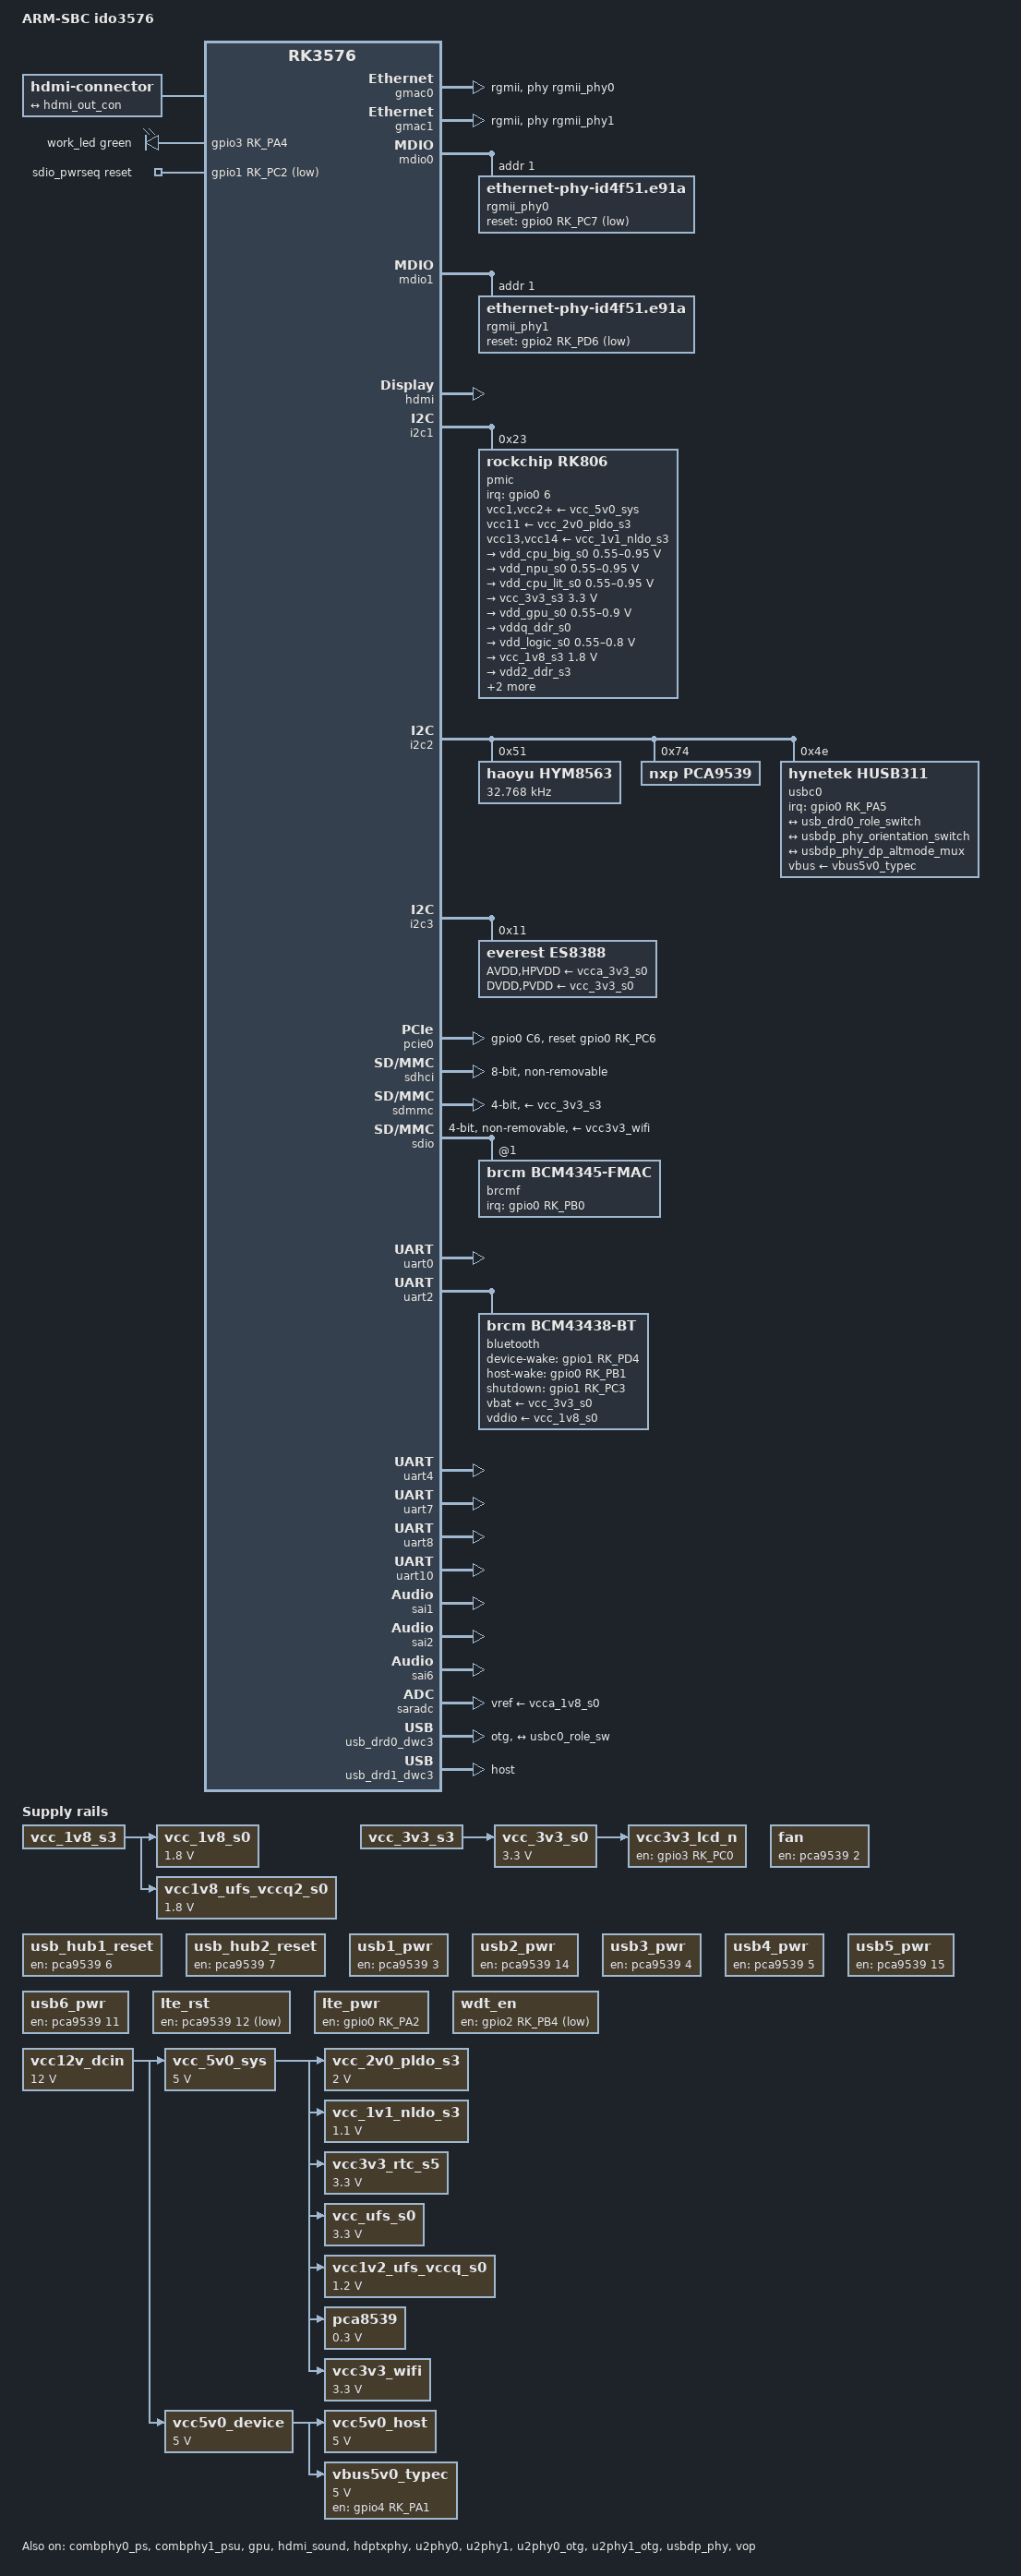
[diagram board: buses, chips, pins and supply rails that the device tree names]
// SPDX-License-Identifier: (GPL-2.0+ OR MIT)
/*
 * Copyright (c) 2025 ARM-SBC
 *
 */

/dts-v1/;

#include <dt-bindings/gpio/gpio.h>
#include <dt-bindings/leds/common.h>
#include <dt-bindings/pinctrl/rockchip.h>
#include <dt-bindings/pwm/pwm.h>
#include <dt-bindings/soc/rockchip,vop2.h>
#include <dt-bindings/usb/pd.h>
#include "rk3576.dtsi"

/ {
	model = "ARM-SBC ido3576";
	compatible = "armsbc,ido3576", "rockchip,rk3576";

	aliases {
		ethernet0 = &gmac0;
		ethernet1 = &gmac1;
	};

	chosen {
		stdout-path = "serial0:1500000n8";
	};

	hdmi-con {
		compatible = "hdmi-connector";
		type = "a";

		port {
			hdmi_con_in: endpoint {
				remote-endpoint = <&hdmi_out_con>;
			};
		};
	};

	leds: leds {
		compatible = "gpio-leds";

		work_led: work-led {
			color = <LED_COLOR_ID_GREEN>;
			function = LED_FUNCTION_HEARTBEAT;
			gpios = <&gpio3 RK_PA4 GPIO_ACTIVE_HIGH>;
			linux,default-trigger = "heartbeat";
		};

	};
	
	es8388_sound: es8388-sound {
		compatible = "simple-audio-card";
		//hp-det-gpio = <&gpio0 RK_PC3 GPIO_ACTIVE_HIGH>;
		simple-audio-card,format = "i2s";
		simple-audio-card,mclk-fs = <256>;
		simple-audio-card,name = "On-board Analog ES8388";
		simple-audio-card,widgets = "Microphone", "Headphone Mic",
					    "Microphone", "Mic Pads",
					    "Headphone", "Headphone",
					    "Line Out", "Line Out";

		simple-audio-card,routing = "Headphone", "LOUT1",
					    "Headphone", "ROUT1",
					    "Line Out", "LOUT2",
					    "Line Out", "ROUT2",
					    "RINPUT1", "Headphone Mic",
					    "LINPUT2", "Mic Pads",
					    "RINPUT2", "Mic Pads";				
		simple-audio-card,cpu {
			sound-dai = <&sai1>;
		};

		simple-audio-card,codec {
			sound-dai = <&es8388>;
			system-clock-frequency = <12288000>;
		};
	};
	
	sdio_pwrseq: sdio-pwrseq {
		compatible = "mmc-pwrseq-simple";
		pinctrl-names = "default";
		clock-names = "ext_clock";
		clocks = <&hym8563>;
		pinctrl-0 = <&wifi_poweren_gpio>;
		post-power-on-delay-ms = <200>;
		reset-gpios = <&gpio1 RK_PC2 GPIO_ACTIVE_LOW>;
		status = "okay";
	};
	
	fan: fan {
		compatible = "regulator-fixed";
		regulator-name = "fan_regulator";
		regulator-boot-on;
		regulator-always-on;
		enable-active-high;
		gpios = <&pca9539 2 GPIO_ACTIVE_HIGH>;
      		};
		
	usb_hub1_reset: usb-hub1-reset {
		compatible = "regulator-fixed";
		regulator-name = "usb_hub1_regulator";
		regulator-boot-on;
		regulator-always-on;
		enable-active-high;
		gpios = <&pca9539 6 GPIO_ACTIVE_HIGH>;	
		};
		
	usb_hub2_reset:  usb-hub2-reset{
		compatible = "regulator-fixed";
		regulator-name = "usb_hub2_regulator";
		regulator-boot-on;
		regulator-always-on;
		enable-active-high;
		gpios = <&pca9539 7 GPIO_ACTIVE_HIGH>;
		};
		
	usb1_pwr: usb1-pwr {
		compatible = "regulator-fixed";
		regulator-name = "usb1_regulator";
		regulator-boot-on;
		regulator-always-on;
		enable-active-high;
		gpios = <&pca9539 3 GPIO_ACTIVE_HIGH>;
		};
		
	usb2_pwr: usb2-pwr {
		compatible = "regulator-fixed";
		regulator-name = "usb2_regulator";
		regulator-boot-on;
		regulator-always-on;
		enable-active-high;
		gpios = <&pca9539 14 GPIO_ACTIVE_HIGH>;
		};

	usb3_pwr: usb3-pwr {
		compatible = "regulator-fixed";
		regulator-name = "usb3_regulator";
		regulator-boot-on;
		regulator-always-on;
		enable-active-high;
		gpios = <&pca9539 4 GPIO_ACTIVE_HIGH>;
		};

	usb4_pwr: usb4-pwr {
		compatible = "regulator-fixed";
		regulator-name = "usb4_regulator";
		regulator-boot-on;
		regulator-always-on;
		enable-active-high;
		gpios = <&pca9539 5 GPIO_ACTIVE_HIGH>;
		};
		
	usb5_pwr: usb4-pwr {
		compatible = "regulator-fixed";
		regulator-name = "usb5_regulator";
		regulator-boot-on;
		regulator-always-on;
		enable-active-high;
		gpios = <&pca9539 15 GPIO_ACTIVE_HIGH>;
		};
		
	usb6_pwr: usb6-pwr {
		compatible = "regulator-fixed";
		regulator-name = "usb6_regulator";
		regulator-boot-on;
		regulator-always-on;
		enable-active-high;
		gpios = <&pca9539 11 GPIO_ACTIVE_HIGH>;
		};
		
	lte_rst: lte-rst {
		compatible = "regulator-fixed";
		regulator-name = "lte_reset_regulator";
		gpios = <&pca9539 12 GPIO_ACTIVE_HIGH>;	
		};

	lte_pwr: lte-pwr {
		compatible = "regulator-fixed";
		regulator-name = "lte_pwr_regulator";
		regulator-boot-on;
		regulator-always-on;
		enable-active-high;
		gpios = <&gpio0 RK_PA2 GPIO_ACTIVE_HIGH>;
		};

	wdt_en: wdt-en {
		compatible = "regulator-fixed";
		regulator-name = "wdt_regulator";
		regulator-boot-on;
		regulator-always-on;
		gpios = <&gpio2 RK_PB4 GPIO_ACTIVE_HIGH>;
		};
		
	vcc12v_dcin: vcc12v-dcin {
		compatible = "regulator-fixed";
		regulator-name = "vcc12v_dcin";
		regulator-always-on;
		regulator-boot-on;
		regulator-min-microvolt = <12000000>;
		regulator-max-microvolt = <12000000>;
	};

	vcc_5v0_sys: vcc-5v0-sys {
		compatible = "regulator-fixed";
		regulator-name = "vcc_5v0_sys";
		regulator-always-on;
		regulator-boot-on;
		regulator-min-microvolt = <5000000>;
		regulator-max-microvolt = <5000000>;
		vin-supply = <&vcc12v_dcin>;
	};

	vcc5v0_device: vcc5v0-device {
		compatible = "regulator-fixed";
		regulator-name = "vcc5v0_device";
		regulator-always-on;
		regulator-boot-on;
		regulator-min-microvolt = <5000000>;
		regulator-max-microvolt = <5000000>;
		vin-supply = <&vcc12v_dcin>;
	};

	vcc_2v0_pldo_s3: vcc-2v0-pldo-s3 {
		compatible = "regulator-fixed";
		regulator-name = "vcc_2v0_pldo_s3";
		regulator-boot-on;
		regulator-always-on;
		regulator-min-microvolt = <2000000>;
		regulator-max-microvolt = <2000000>;
		vin-supply = <&vcc_5v0_sys>;
	};

	vcc_1v1_nldo_s3: vcc-1v1-nldo-s3 {
		compatible = "regulator-fixed";
		regulator-name = "vcc_1v1_nldo_s3";
		regulator-boot-on;
		regulator-always-on;
		regulator-min-microvolt = <1100000>;
		regulator-max-microvolt = <1100000>;
		vin-supply = <&vcc_5v0_sys>;
	};

	vcc3v3_rtc_s5: vcc3v3-rtc-s5 {
		compatible = "regulator-fixed";
		regulator-name = "vcc3v3_rtc_s5";
		regulator-boot-on;
		regulator-always-on;
		regulator-min-microvolt = <3300000>;
		regulator-max-microvolt = <3300000>;
		vin-supply = <&vcc_5v0_sys>;
	};

	vcc_1v8_s0: vcc-1v8-s0 {
		compatible = "regulator-fixed";
		regulator-name = "vcc_1v8_s0";
		regulator-boot-on;
		regulator-always-on;
		regulator-min-microvolt = <1800000>;
		regulator-max-microvolt = <1800000>;
		vin-supply = <&vcc_1v8_s3>;
	};

	vcc_3v3_s0: vcc-3v3-s0 {
		compatible = "regulator-fixed";
		regulator-name = "vcc_3v3_s0";
		regulator-boot-on;
		regulator-always-on;
		regulator-min-microvolt = <3300000>;
		regulator-max-microvolt = <3300000>;
		vin-supply = <&vcc_3v3_s3>;
	};

	vcc_ufs_s0: vcc-ufs-s0 {
		compatible = "regulator-fixed";
		regulator-name = "vcc_ufs_s0";
		regulator-boot-on;
		regulator-always-on;
		regulator-min-microvolt = <3300000>;
		regulator-max-microvolt = <3300000>;
		vin-supply = <&vcc_5v0_sys>;
	};

	vcc1v8_ufs_vccq2_s0: vcc1v8-ufs-vccq2-s0 {
		compatible = "regulator-fixed";
		regulator-name = "vcc1v8_ufs_vccq2_s0";
		regulator-boot-on;
		regulator-always-on;
		regulator-min-microvolt = <1800000>;
		regulator-max-microvolt = <1800000>;
		vin-supply = <&vcc_1v8_s3>;
	};

	vcc1v2_ufs_vccq_s0: vcc1v2-ufs-vccq-s0 {
		compatible = "regulator-fixed";
		regulator-name = "vcc1v2_ufs_vccq_s0";
		regulator-boot-on;
		regulator-always-on;
		regulator-min-microvolt = <1200000>;
		regulator-max-microvolt = <1200000>;
		vin-supply = <&vcc_5v0_sys>;
	};

	vcc3v3_lcd_n: vcc3v3-lcd0-n {
		compatible = "regulator-fixed";
		regulator-name = "vcc3v3_lcd0_n";
		regulator-boot-on;
		enable-active-high;
		pinctrl-0 = <&backligth_on>;
		gpio = <&gpio3 RK_PC0 GPIO_ACTIVE_HIGH>;
		vin-supply = <&vcc_3v3_s0>;
	};

	vcc5v0_host: vcc5v0-host {
		compatible = "regulator-fixed";
		regulator-name = "vcc5v0_host";
		regulator-boot-on;
		regulator-always-on;
		regulator-min-microvolt = <5000000>;
		regulator-max-microvolt = <5000000>;
		enable-active-high;
		vin-supply = <&vcc5v0_device>;
	};

	vbus5v0_typec: vbus5v0-typec {
		compatible = "regulator-fixed";
		regulator-name = "vbus5v0_typec";
		regulator-min-microvolt = <5000000>;
		regulator-max-microvolt = <5000000>;
		enable-active-high;
		gpio = <&gpio4 RK_PA1 GPIO_ACTIVE_HIGH>;
		vin-supply = <&vcc5v0_device>;
		pinctrl-names = "default";
		pinctrl-0 = <&usb_otg0_pwren>;
	};
		
	pca8539: pca8539_reset {
		compatible = "regulator-fixed";
		regulator-name = "pca8539_reset";
		regulator-boot-on;
		regulator-always-on;
		regulator-min-microvolt = <300000>;
		regulator-max-microvolt = <300000>;
		vin-supply = <&vcc_5v0_sys>;
	};
	
	vcc3v3_wifi: vcc3v3-wifi {
		compatible = "regulator-fixed";
		enable-active-high;
		pinctrl-names = "default";
		regulator-name = "vcc3v3_wifi";
		regulator-always-on;
		regulator-boot-on;
		regulator-min-microvolt = <3300000>;
		regulator-max-microvolt = <3300000>;
		startup-delay-us = <50000>;
		vin-supply = <&vcc_5v0_sys>;
	};
};

&cpu_b0 {
	cpu-supply = <&vdd_cpu_big_s0>;
};

&cpu_b1 {
	cpu-supply = <&vdd_cpu_big_s0>;
};

&cpu_b2 {
	cpu-supply = <&vdd_cpu_big_s0>;
};

&cpu_b3 {
	cpu-supply = <&vdd_cpu_big_s0>;
};

&cpu_l0 {
	cpu-supply = <&vdd_cpu_lit_s0>;
};

&cpu_l1 {
	cpu-supply = <&vdd_cpu_lit_s0>;
};

&cpu_l2 {
	cpu-supply = <&vdd_cpu_lit_s0>;
};

&cpu_l3 {
	cpu-supply = <&vdd_cpu_lit_s0>;
};

&combphy0_ps {
	status = "okay";
};

&combphy1_psu {
	status = "okay";
};

&gmac0 {
	phy-mode = "rgmii";
	clock_in_out = "output";
	pinctrl-names = "default";
	pinctrl-0 = <&eth0m0_miim
		     &eth0m0_tx_bus2
		     &eth0m0_rx_bus2
		     &eth0m0_rgmii_clk
		     &eth0m0_rgmii_bus>;    
	phy-handle = <&rgmii_phy0>;
	status = "okay";
	tx_delay = <0x1a>;
	rx_delay = <0x26>;
};

&gmac1 {
	phy-mode = "rgmii";
	clock_in_out = "output";
	pinctrl-names = "default";
	pinctrl-0 = <&eth1m0_miim
		     &eth1m0_tx_bus2
		     &eth1m0_rx_bus2
		     &eth1m0_rgmii_clk
		     &eth1m0_rgmii_bus>;    		    
	phy-handle = <&rgmii_phy1>;
	status = "okay";
	tx_delay = <0x1a>;
	rx_delay = <0x26>;
};

&mdio0 {
	rgmii_phy0: phy@1 {
		compatible = "ethernet-phy-id4f51.e91a";
		reg = <0x1>;
		pinctrl-names = "default";
		pinctrl-0 = <&rtl8211a_rst>;
		reset-delay-us = <20000>;
		reset-post-delay-us = <100000>;
		motorcomm,auto-sleep-disabled;
        	motorcomm,keep-pll-enabled;
        	motorcomm,clk-out-frequency-hz = <25000000>;
		reset-gpios = <&gpio0 RK_PC7 GPIO_ACTIVE_LOW>;
		rx-internal-delay-ps = <2100>;
        	tx-internal-delay-ps = <1500>;
	};
};

&mdio1 {
	rgmii_phy1: ethernet-phy@1 {
		compatible = "ethernet-phy-id4f51.e91a";
		reg = <0x1>;
		pinctrl-names = "default";
		pinctrl-0 = <&rtl8211b_rst>;
		reset-delay-us = <20000>;
		reset-post-delay-us = <100000>;
		motorcomm,auto-sleep-disabled;
        	motorcomm,keep-pll-enabled;
        	motorcomm,clk-out-frequency-hz = <25000000>;
		reset-gpios = <&gpio2 RK_PD6 GPIO_ACTIVE_LOW>;
		rx-internal-delay-ps = <2100>;
        	tx-internal-delay-ps = <1500>;
	};
};

&gpu {
	mali-supply = <&vdd_gpu_s0>;
	status = "okay";
};

&hdmi {
	status = "okay";
};

&hdmi_in {
	hdmi_in_vp0: endpoint {
		remote-endpoint = <&vp0_out_hdmi>;
	};
};

&hdmi_out {
	hdmi_out_con: endpoint {
		remote-endpoint = <&hdmi_con_in>;
	};
};

&hdmi_sound {
	status = "okay";
};

&hdptxphy {
	status = "okay";
};

&i2c1 {
	status = "okay";

	pmic@23 {
		compatible = "rockchip,rk806";
		reg = <0x23>;

		interrupt-parent = <&gpio0>;
		interrupts = <6 IRQ_TYPE_LEVEL_LOW>;

		pinctrl-names = "default";
		pinctrl-0 = <&pmic_pins>, <&rk806_dvs1_null>,
			    <&rk806_dvs2_null>, <&rk806_dvs3_null>;

		system-power-controller;

		vcc1-supply = <&vcc_5v0_sys>;
		vcc2-supply = <&vcc_5v0_sys>;
		vcc3-supply = <&vcc_5v0_sys>;
		vcc4-supply = <&vcc_5v0_sys>;
		vcc5-supply = <&vcc_5v0_sys>;
		vcc6-supply = <&vcc_5v0_sys>;
		vcc7-supply = <&vcc_5v0_sys>;
		vcc8-supply = <&vcc_5v0_sys>;
		vcc9-supply = <&vcc_5v0_sys>;
		vcc10-supply = <&vcc_5v0_sys>;
		vcc11-supply = <&vcc_2v0_pldo_s3>;
		vcc12-supply = <&vcc_5v0_sys>;
		vcc13-supply = <&vcc_1v1_nldo_s3>;
		vcc14-supply = <&vcc_1v1_nldo_s3>;
		vcca-supply = <&vcc_5v0_sys>;

		gpio-controller;
		#gpio-cells = <2>;

		rk806_dvs1_null: dvs1-null-pins {
			pins = "gpio_pwrctrl1";
			function = "pin_fun0";
		};

		rk806_dvs2_null: dvs2-null-pins {
			pins = "gpio_pwrctrl2";
			function = "pin_fun0";
		};

		rk806_dvs3_null: dvs3-null-pins {
			pins = "gpio_pwrctrl3";
			function = "pin_fun0";
		};

		rk806_dvs1_slp: dvs1-slp-pins {
			pins = "gpio_pwrctrl1";
			function = "pin_fun1";
		};

		rk806_dvs1_pwrdn: dvs1-pwrdn-pins {
			pins = "gpio_pwrctrl1";
			function = "pin_fun2";
		};

		rk806_dvs1_rst: dvs1-rst-pins {
			pins = "gpio_pwrctrl1";
			function = "pin_fun3";
		};

		rk806_dvs2_slp: dvs2-slp-pins {
			pins = "gpio_pwrctrl2";
			function = "pin_fun1";
		};

		rk806_dvs2_pwrdn: dvs2-pwrdn-pins {
			pins = "gpio_pwrctrl2";
			function = "pin_fun2";
		};

		rk806_dvs2_rst: dvs2-rst-pins {
			pins = "gpio_pwrctrl2";
			function = "pin_fun3";
		};

		rk806_dvs2_dvs: dvs2-dvs-pins {
			pins = "gpio_pwrctrl2";
			function = "pin_fun4";
		};

		rk806_dvs2_gpio: dvs2-gpio-pins {
			pins = "gpio_pwrctrl2";
			function = "pin_fun5";
		};

		rk806_dvs3_slp: dvs3-slp-pins {
			pins = "gpio_pwrctrl3";
			function = "pin_fun1";
		};

		rk806_dvs3_pwrdn: dvs3-pwrdn-pins {
			pins = "gpio_pwrctrl3";
			function = "pin_fun2";
		};

		rk806_dvs3_rst: dvs3-rst-pins {
			pins = "gpio_pwrctrl3";
			function = "pin_fun3";
		};

		rk806_dvs3_dvs: dvs3-dvs-pins {
			pins = "gpio_pwrctrl3";
			function = "pin_fun4";
		};

		rk806_dvs3_gpio: dvs3-gpio-pins {
			pins = "gpio_pwrctrl3";
			function = "pin_fun5";
		};

		regulators {
			vdd_cpu_big_s0: dcdc-reg1 {
				regulator-always-on;
				regulator-boot-on;
				regulator-min-microvolt = <550000>;
				regulator-max-microvolt = <950000>;
				regulator-ramp-delay = <12500>;
				regulator-name = "vdd_cpu_big_s0";
				regulator-enable-ramp-delay = <400>;
				regulator-state-mem {
					regulator-off-in-suspend;
				};
			};

			vdd_npu_s0: dcdc-reg2 {
				regulator-boot-on;
				regulator-min-microvolt = <550000>;
				regulator-max-microvolt = <950000>;
				regulator-ramp-delay = <12500>;
				regulator-name = "vdd_npu_s0";
				regulator-enable-ramp-delay = <400>;
				regulator-state-mem {
					regulator-off-in-suspend;
				};
			};

			vdd_cpu_lit_s0: dcdc-reg3 {
				regulator-always-on;
				regulator-boot-on;
				regulator-min-microvolt = <550000>;
				regulator-max-microvolt = <950000>;
				regulator-ramp-delay = <12500>;
				regulator-name = "vdd_cpu_lit_s0";
				regulator-state-mem {
					regulator-off-in-suspend;
					regulator-suspend-microvolt = <750000>;
				};
			};

			vcc_3v3_s3: dcdc-reg4 {
				regulator-always-on;
				regulator-boot-on;
				regulator-min-microvolt = <3300000>;
				regulator-max-microvolt = <3300000>;
				regulator-name = "vcc_3v3_s3";
				regulator-state-mem {
					regulator-on-in-suspend;
					regulator-suspend-microvolt = <3300000>;
				};
			};

			vdd_gpu_s0: dcdc-reg5 {
				regulator-boot-on;
				regulator-min-microvolt = <550000>;
				regulator-max-microvolt = <900000>;
				regulator-ramp-delay = <12500>;
				regulator-name = "vdd_gpu_s0";
				regulator-enable-ramp-delay = <400>;
				regulator-state-mem {
					regulator-off-in-suspend;
					regulator-suspend-microvolt = <850000>;
				};
			};

			vddq_ddr_s0: dcdc-reg6 {
				regulator-always-on;
				regulator-boot-on;
				regulator-name = "vddq_ddr_s0";
				regulator-state-mem {
					regulator-off-in-suspend;
				};
			};

			vdd_logic_s0: dcdc-reg7 {
				regulator-always-on;
				regulator-boot-on;
				regulator-min-microvolt = <550000>;
				regulator-max-microvolt = <800000>;
				regulator-name = "vdd_logic_s0";
				regulator-state-mem {
					regulator-off-in-suspend;
				};
			};

			vcc_1v8_s3: dcdc-reg8 {
				regulator-always-on;
				regulator-boot-on;
				regulator-min-microvolt = <1800000>;
				regulator-max-microvolt = <1800000>;
				regulator-name = "vcc_1v8_s3";
				regulator-state-mem {
					regulator-on-in-suspend;
					regulator-suspend-microvolt = <1800000>;
				};
			};

			vdd2_ddr_s3: dcdc-reg9 {
				regulator-always-on;
				regulator-boot-on;
				regulator-name = "vdd2_ddr_s3";
				regulator-state-mem {
					regulator-on-in-suspend;
				};
			};

			vdd_ddr_s0: dcdc-reg10 {
				regulator-always-on;
				regulator-boot-on;
				regulator-min-microvolt = <550000>;
				regulator-max-microvolt = <1200000>;
				regulator-name = "vdd_ddr_s0";
				regulator-state-mem {
					regulator-off-in-suspend;
				};
			};

			vcca_1v8_s0: pldo-reg1 {
				regulator-always-on;
				regulator-boot-on;
				regulator-min-microvolt = <1800000>;
				regulator-max-microvolt = <1800000>;
				regulator-name = "vcca_1v8_s0";
				regulator-state-mem {
					regulator-off-in-suspend;
				};
			};

			vcca1v8_pldo2_s0: pldo-reg2 {
				regulator-always-on;
				regulator-boot-on;
				regulator-min-microvolt = <1800000>;
				regulator-max-microvolt = <1800000>;
				regulator-name = "vcca1v8_pldo2_s0";
				regulator-state-mem {
					regulator-off-in-suspend;
				};
			};

			vdda_1v2_s0: pldo-reg3 {
				regulator-always-on;
				regulator-boot-on;
				regulator-min-microvolt = <1200000>;
				regulator-max-microvolt = <1200000>;
				regulator-name = "vdda_1v2_s0";
				regulator-state-mem {
					regulator-off-in-suspend;
				};
			};

			vcca_3v3_s0: pldo-reg4 {
				regulator-always-on;
				regulator-boot-on;
				regulator-min-microvolt = <3300000>;
				regulator-max-microvolt = <3300000>;
				regulator-name = "vcca_3v3_s0";
				regulator-state-mem {
					regulator-off-in-suspend;
				};
			};

			vccio_sd_s0: pldo-reg5 {
				regulator-always-on;
				regulator-boot-on;
				regulator-min-microvolt = <1800000>;
				regulator-max-microvolt = <3300000>;
				regulator-name = "vccio_sd_s0";
				regulator-state-mem {
					regulator-off-in-suspend;
				};
			};

			vcca1v8_pldo6_s3: pldo-reg6 {
				regulator-always-on;
				regulator-boot-on;
				regulator-min-microvolt = <1800000>;
				regulator-max-microvolt = <1800000>;
				regulator-name = "vcca1v8_pldo6_s3";
				regulator-state-mem {
					regulator-on-in-suspend;
					regulator-suspend-microvolt = <1800000>;
				};
			};

			vdd_0v75_s3: nldo-reg1 {
				regulator-always-on;
				regulator-boot-on;
				regulator-min-microvolt = <750000>;
				regulator-max-microvolt = <750000>;
				regulator-name = "vdd_0v75_s3";
				regulator-state-mem {
					regulator-on-in-suspend;
					regulator-suspend-microvolt = <750000>;
				};
			};

			vdda_ddr_pll_s0: nldo-reg2 {
				regulator-always-on;
				regulator-boot-on;
				regulator-min-microvolt = <850000>;
				regulator-max-microvolt = <850000>;
				regulator-name = "vdda_ddr_pll_s0";
				regulator-state-mem {
					regulator-off-in-suspend;
				};
			};

			vdda0v75_hdmi_s0: nldo-reg3 {
				regulator-always-on;
				regulator-boot-on;
				regulator-min-microvolt = <837500>;
				regulator-max-microvolt = <837500>;
				regulator-name = "vdda0v75_hdmi_s0";
				regulator-state-mem {
					regulator-off-in-suspend;
				};
			};

			vdda_0v85_s0: nldo-reg4 {
				regulator-always-on;
				regulator-boot-on;
				regulator-min-microvolt = <850000>;
				regulator-max-microvolt = <850000>;
				regulator-name = "vdda_0v85_s0";
				regulator-state-mem {
					regulator-off-in-suspend;
				};
			};

			vdda_0v75_s0: nldo-reg5 {
				regulator-always-on;
				regulator-boot-on;
				regulator-min-microvolt = <750000>;
				regulator-max-microvolt = <750000>;
				regulator-name = "vdda_0v75_s0";
				regulator-state-mem {
					regulator-off-in-suspend;
				};
			};
		};
	};
};

&i2c2 {
	status = "okay";
	pinctrl-0 = <&i2c2m0_xfer>;
		
	hym8563: hym8563@51 {
		compatible = "haoyu,hym8563";
		reg = <0x51>;
		#clock-cells = <0>;
		clock-frequency = <32768>;
		clock-output-names = "hym8563";
		pinctrl-names = "default";
	};
	
	pca9539: pca9539@74 {
		compatible = "nxp,pca9539";
		reg = <0x74>;
		gpio-controller;
		#gpio-cells = <2>;
		interrupt-controller;
		#interrupt-cells = <2>;
		status = "okay";
	};

	usbc0: husb311@4e {
		compatible = "hynetek,husb311";
		reg = <0x4e>;
		interrupt-parent = <&gpio0>;
		interrupts = <RK_PA5 IRQ_TYPE_LEVEL_LOW>;
		pinctrl-names = "default";
		pinctrl-0 = <&usbc0_int>;
		vbus-supply = <&vbus5v0_typec>;
		status = "okay";

		port {
			usbc0_role_sw: endpoint {
				remote-endpoint = <&usb_drd0_role_switch>;
			};
		};

		usb_con: connector {
			compatible = "usb-c-connector";
			label = "USB-C";
			data-role = "dual";
			power-role = "dual";
			try-power-role = "sink";
			op-sink-microwatt = <1000000>;
			sink-pdos =
				<PDO_FIXED(5000, 1000, PDO_FIXED_USB_COMM)>;
			source-pdos =
				<PDO_FIXED(5000, 3000, PDO_FIXED_USB_COMM)>;

			altmodes {
				#address-cells = <1>;
				#size-cells = <0>;

				altmode@0 {
					reg = <0>;
					svid = <0xff01>;
					vdo = <0xffffffff>;
				};
			};

			ports {
				#address-cells = <1>;
				#size-cells = <0>;

				port@0 {
					reg = <0>;
					usbc0_orien_sw: endpoint {
						remote-endpoint = <&usbdp_phy_orientation_switch>;
					};
				};

				port@1 {
					reg = <1>;
					dp_altmode_mux: endpoint {
						remote-endpoint = <&usbdp_phy_dp_altmode_mux>;
					};
				};
			};
		};
	};
};

&i2c3 {
	status = "okay";
	es8388: es8388@11 {
		compatible = "everest,es8388", "everest,es8323";
		reg = <0x11>;
		clocks = <&cru CLK_SAI1_MCLKOUT_TO_IO>;
		AVDD-supply = <&vcca_3v3_s0>;
		DVDD-supply = <&vcc_3v3_s0>;
		HPVDD-supply = <&vcca_3v3_s0>;
		PVDD-supply = <&vcc_3v3_s0>;
		assigned-clocks = <&cru CLK_SAI1_MCLKOUT_TO_IO>;
		assigned-clock-rates = <12288000>;
		pinctrl-names = "default";
		pinctrl-0 = <&sai1m0_mclk>;
		#sound-dai-cells = <0>;
	};
};

&pcie0 {
	reset-gpios = <&gpio0 RK_PC6 GPIO_ACTIVE_HIGH>;
	rockchip,skip-scan-in-resume;
	pinctrl-0 = <&pcie_reset>;
	pinctrl-names = "default";
	status = "okay";
};

&pinctrl {
	sound {
		hp_det: hp-det {
			rockchip,pins = <0 RK_PC3 RK_FUNC_GPIO &pcfg_pull_up>;
		};
	};
	
	pcie {
		pcie_reset: pcie-reset {
			rockchip,pins = <0 RK_PC6 RK_FUNC_GPIO &pcfg_pull_up>;
		};
	};
	
	ethernet {
		rtl8211a_rst: rtl8211a-rst {
			rockchip,pins = <2 RK_PB3 RK_FUNC_GPIO &pcfg_pull_none>;
		};
		
		rtl8211b_rst: rtl8211b-rst {
			rockchip,pins = <2 RK_PD6 RK_FUNC_GPIO &pcfg_pull_none>;
		};
	};

	usb {
		usb_otg0_pwren: usb-otg0-pwren {
			rockchip,pins = <4 RK_PA1 RK_FUNC_GPIO &pcfg_pull_none>;
		};

		usbc0_int: usbc0-int {
			rockchip,pins = <0 RK_PA5 RK_FUNC_GPIO &pcfg_pull_up>;
		};
	};
	
	screen {
		backligth_on: bakclight-on{
			rockchip,pins = <3 RK_PC0 RK_FUNC_GPIO &pcfg_pull_none>;
		};

		backligth_edp_on: bakclight-edp-on{
			rockchip,pins = <4 RK_PC3 RK_FUNC_GPIO &pcfg_pull_none>;
		};

		backligth_edp_pwr: bakclight-edp-pwr{
			rockchip,pins = <4 RK_PC2 RK_FUNC_GPIO &pcfg_pull_none>;
		};
	};
	
	wireless-wlan {
		wifi_host_wake_irq: wifi-host-wake-irq {
			rockchip,pins = <0 RK_PB0 RK_FUNC_GPIO &pcfg_pull_up>;
		};

		wifi_poweren_gpio: wifi-poweren-gpio {
			rockchip,pins = <1 RK_PC2 RK_FUNC_GPIO &pcfg_pull_up>;
		};
	};
	
	bluetooth {
		bt_wake_gpio: bt-wake-gpio {
			rockchip,pins = <1 RK_PD4 RK_FUNC_GPIO &pcfg_pull_up>;
		};
			
		bt_reset_gpio: bt-reset-gpio {
			rockchip,pins = <1 RK_PC3 RK_FUNC_GPIO &pcfg_pull_up>;
		};
		
		bt_wake_host_irq: bt-wake-host-irq {
			rockchip,pins = <0 RK_PB1 RK_FUNC_GPIO &pcfg_pull_up>;
		};
	};
	
	led {
		leds_gpio: leds-gpio {
			rockchip,pins = <3 RK_PA4 RK_FUNC_GPIO &pcfg_pull_none>;
		};
	};
};

&sdhci {
	bus-width = <8>;
	full-pwr-cycle-in-suspend;
	max-frequency = <200000000>;
	mmc-hs400-1_8v;
	mmc-hs400-enhanced-strobe;
	no-sdio;
	no-sd;
	non-removable;
	status = "okay";
};

&sdmmc {
	bus-width = <4>;
	cap-mmc-highspeed;
	cap-sd-highspeed;
	disable-wp;
	max-frequency = <200000000>;
	no-sdio;
	no-mmc;
	sd-uhs-sdr104;
	vmmc-supply = <&vcc_3v3_s3>;
	vqmmc-supply = <&vccio_sd_s0>;
	status = "okay";
};

&sdio {
	max-frequency = <200000000>;
	no-sd;
	no-mmc;
	non-removable;
	bus-width = <4>;
	cap-sdio-irq;
	disable-wp;
	keep-power-in-suspend;
	wakeup-source;
	sd-uhs-sdr12;
	sd-uhs-sdr25;
	sd-uhs-sdr50;
	sd-uhs-sdr104;
	#address-cells = <1>;
	#size-cells = <0>;
	status = "okay";
	mmc-pwrseq = <&sdio_pwrseq>;
	pinctrl-names = "default";
	vmmc-supply = <&vcc3v3_wifi>;
	vqmmc-supply = <&vcc_1v8_s3>;

	brcmf: wifi@1 {
		compatible = "brcm,bcm4345-fmac";
        	reg = <1>;
        	interrupt-parent = <&gpio0>;
        	interrupts = <RK_PB0 IRQ_TYPE_LEVEL_HIGH>;
        	interrupt-names = "host-wake";
        	pinctrl-names = "default";
        	pinctrl-0 = <&wifi_host_wake_irq>;
        	clock-names = "ext_clock";
		clocks = <&hym8563>;
        	status = "okay";
	};
};


&uart0 {
	pinctrl-0 = <&uart0m0_xfer>;
	status = "okay";
};

&uart2 {
	pinctrl-0 = <&uart2m0_xfer &uart2m0_rtsn &uart2m0_ctsn>;
	status = "okay";
	uart-has-rtscts;

	bluetooth {
		status = "okay";
		compatible = "brcm,bcm43438-bt";
		clock-names = "ext_clock";
		clocks = <&hym8563>;
		device-wake-gpios = <&gpio1 RK_PD4 GPIO_ACTIVE_HIGH>;
		host-wake-gpios = <&gpio0 RK_PB1 GPIO_ACTIVE_HIGH>;
		shutdown-gpios = <&gpio1 RK_PC3 GPIO_ACTIVE_HIGH>;
		pinctrl-names = "default";
		pinctrl-0 = <&bt_wake_gpio &bt_reset_gpio &bt_wake_host_irq>;
		vbat-supply = <&vcc_3v3_s0>;
		vddio-supply = <&vcc_1v8_s0>;
	};
};


&uart4 {
	status = "okay";
	pinctrl-names = "default";
	pinctrl-0 = <&uart4m2_xfer>;
};

&uart7 {
	status = "okay";
	pinctrl-names = "default";
	pinctrl-0 = <&uart7m0_xfer &uart7m0_rtsn>;
	linux,rs485-enabled-at-boot-time;
};

&uart8 {
	status = "okay";
	pinctrl-names = "default";
	pinctrl-0 = <&uart8m1_xfer>;
};

&uart10 {
	status = "okay";
	pinctrl-names = "default";
	pinctrl-0 = <&uart10m2_xfer>;
};

&sai1 {
	status = "okay";
	pinctrl-names = "default";
	pinctrl-0 = <&sai1m0_lrck
		     &sai1m0_sclk
		     &sai1m0_sdi0
		     &sai1m0_sdo0>;
};

&sai2 {
	status = "okay";
	pinctrl-names = "default";
	pinctrl-0 = <&sai2m0_lrck
		     &sai2m0_sclk
		     &sai2m0_sdi
		     &sai2m0_sdo>;
};

&sai6 {
	status = "okay";
};

&saradc {
	status = "okay";
	vref-supply = <&vcca_1v8_s0>;
};

&ufshc {
	status = "disabled";
	reset-gpios = <&gpio4 RK_PD0 GPIO_ACTIVE_HIGH>;
};


&u2phy0 {
	status = "okay";
};

&u2phy1 {
	status = "okay";
};

&u2phy0_otg {
	status = "okay";
	rockchip,typec-vbus-det;
};

&u2phy1_otg {
	status = "okay";
	phy-supply = <&vcc5v0_host>;
};

&usbdp_phy {
	status = "okay";
	orientation-switch;
	svid = <0xff01>;
	sbu1-dc-gpios = <&gpio0 RK_PD2 GPIO_ACTIVE_HIGH>;
	sbu2-dc-gpios = <&gpio0 RK_PD3 GPIO_ACTIVE_HIGH>;

	port {
		#address-cells = <1>;
		#size-cells = <0>;

		usbdp_phy_orientation_switch: endpoint@0 {
			reg = <0>;
			remote-endpoint = <&usbc0_orien_sw>;
		};

		usbdp_phy_dp_altmode_mux: endpoint@1 {
			reg = <1>;
			remote-endpoint = <&dp_altmode_mux>;
		};
	};
};

&usb_drd0_dwc3 {
	status = "okay";
	dr_mode = "otg";
	usb-role-switch;
	port {
		usb_drd0_role_switch: endpoint {
			remote-endpoint = <&usbc0_role_sw>;
		};
	};
};

&usb_drd1_dwc3 {
	dr_mode = "host";
	status = "okay";
};

&vop {
	status = "okay";
};

&vop_mmu {
	status = "okay";
};

&vp0 {
	vp0_out_hdmi: endpoint@ROCKCHIP_VOP2_EP_HDMI0 {
		reg = <ROCKCHIP_VOP2_EP_HDMI0>;
		remote-endpoint = <&hdmi_in_vp0>;
	};
};
